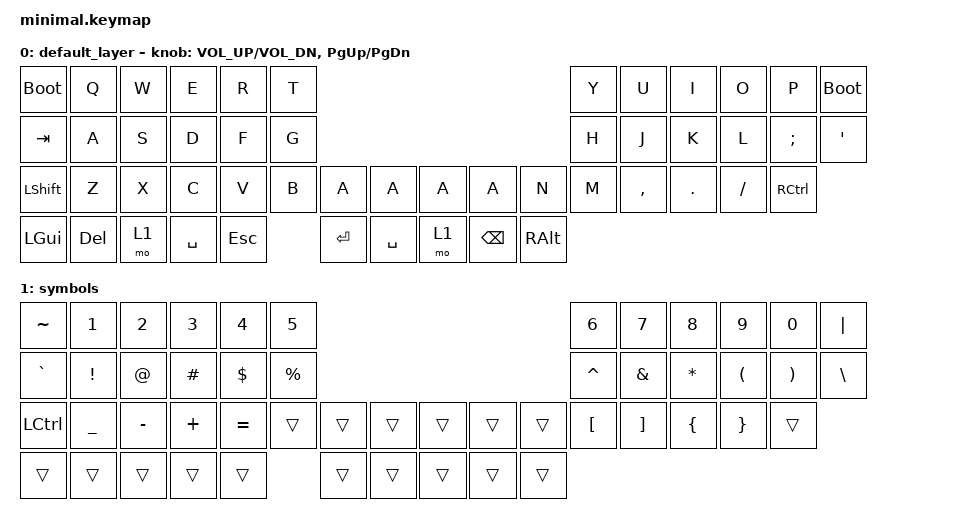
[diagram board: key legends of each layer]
#include <behaviors.dtsi>
#include <dt-bindings/zmk/keys.h>

/ {
    keymap {
        compatible = "zmk,keymap";

        default_layer {
            bindings = <
                //    ┌────────────┬────┬────┬───────┬──────┬──────┐                                     ┌──────┬───────┬───────┬──────┬───────┬────────────┐
                //    │ bootloader │  Q │  W │   E   │   R  │   T  │                                     │   Y  │   U   │   I   │   O  │   P   │ bootloader │
                //    ├────────────┼────┼────┼───────┼──────┼──────┤                                     ├──────┼───────┼───────┼──────┼───────┼────────────┤
                //    │     TAB    │  A │  S │   D   │   F  │   G  │                                     │   H  │   J   │   K   │   L  │  SEMI │     SQT    │
                //    ├────────────┼────┼────┼───────┼──────┼──────┼────────┬──────┐   ┌────────┬────────┼──────┼───────┼───────┼──────┼───────┼────────────┤
                //    │    SHIFT   │  Z │  X │   C   │   V  │   B  │    A   │   A  │   │  SHIFT │  SHIFT │   N  │   M   │  , <  │  . > │   /   │    CTRL    │
                //    └────────────┴────┴────┼───────┼──────┼──────┼────────┼──────┤   ├────────┼────────┼──────┼───────┼───────┼──────┴───────┴────────────┘
                //                           │  LGUI │  DEL │ mo 1 │  SPACE │  ESC │   │   RET  │  SPACE │ mo 1 │  BSPC │  RALT │                            
                //                           └───────┴──────┴──────┴────────┴──────┘   └────────┴────────┴──────┴───────┴───────┘                            
                &bootloader   &kp Q   &kp W   &kp E      &kp R     &kp T                                                     &kp Y   &kp U      &kp I       &kp O     &kp P      &bootloader
                &kp TAB       &kp A   &kp S   &kp D      &kp F     &kp G                                                     &kp H   &kp J      &kp K       &kp L     &kp SEMI   &kp SQT    
                &kp LSHFT     &kp Z   &kp X   &kp C      &kp V     &kp B   &kp A       &kp A         &kp A   &kp A   &kp N   &kp M      &kp COMMA   &kp DOT   &kp FSLH   &kp RCTRL  
                &kp LGUI   &kp DEL   &mo 1   &kp SPACE   &kp ESC       &kp RET     &kp SPACE   &mo 1   &kp BSPC   &kp RALT                                    
            >;

            sensor-bindings = <&inc_dec_kp C_VOL_UP C_VOL_DN &inc_dec_kp PG_UP PG_DN>;
        };

        symbols {
            bindings = <
                //    ┌────────┬─────┬─────┬────────┬────────┬────────┐                                       ┌────────┬────────┬────────┬─────┬─────┬────────┐
                //    │  TILDE │  N1 │  N2 │   N3   │   N4   │   N5   │                                       │   N6   │   N7   │   N8   │  N9 │  N0 │    |   │
                //    ├────────┼─────┼─────┼────────┼────────┼────────┤                                       ├────────┼────────┼────────┼─────┼─────┼────────┤
                //    │    `   │  !  │  @  │    #   │    $   │    %   │                                       │    ^   │  amps  │    *   │  (  │  )  │    \   │
                //    ├────────┼─────┼─────┼────────┼────────┼────────┼────────┬────────┐   ┌────────┬────────┼────────┼────────┼────────┼─────┼─────┼────────┤
                //    │  CTRL  │  _  │  -  │    +   │    =   │ ______ │ ______ │ ______ │   │ ______ │ ______ │ ______ │    [   │    ]   │  {  │  }  │ ______ │
                //    └────────┴─────┴─────┼────────┼────────┼────────┼────────┼────────┤   ├────────┼────────┼────────┼────────┼────────┼─────┴─────┴────────┘
                //                         │ ______ │ ______ │ ______ │ ______ │ ______ │   │ ______ │ ______ │ ______ │ ______ │ ______ │                     
                //                         └────────┴────────┴────────┴────────┴────────┘   └────────┴────────┴────────┴────────┴────────┘                     
                &kp TILDE   &kp N1      &kp N2      &kp N3      &kp N4      &kp N5                                              &kp N6      &kp N7     &kp N8     &kp N9     &kp N0     &kp PIPE
                &kp GRAVE   &kp EXCL    &kp AT      &kp POUND   &kp DLLR    &kp PRCNT                                           &kp CARET   &kp AMPS   &kp STAR   &kp LPAR   &kp RPAR   &kp BSLH
                &kp LCTRL   &kp UNDER   &kp MINUS   &kp PLUS    &kp EQUAL   &trans      &trans   &trans       &trans   &trans   &trans      &kp LBKT   &kp RBKT   &kp LBRC   &kp RBRC   &trans  
                &trans      &trans      &trans      &trans   &trans       &trans   &trans   &trans      &trans     &trans                                   
            >;
        };
    };
};
